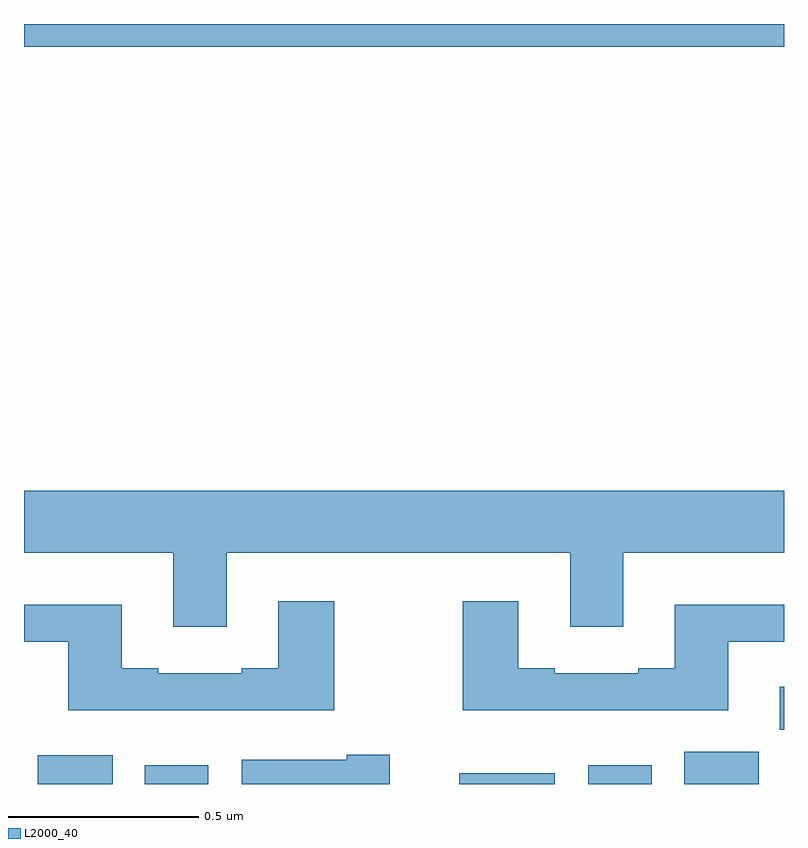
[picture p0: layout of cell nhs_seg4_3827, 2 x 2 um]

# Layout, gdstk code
import gdstk
lib = gdstk.Library(unit=1e-6, precision=1e-09)
def R(c, l, rs):  # rectangles x0, y0, x1, y1
    for r in rs: c.add(gdstk.rectangle(r[:2], r[2:], *l))
def P(c, l, *ps):  # polygons
    for p in ps: c.add(gdstk.Polygon(p, *l))
L2000_40 = (2000, 40)

nhs_seg4_3827 = lib.new_cell('nhs_seg4_3827')
R(nhs_seg4_3827, L2000_40, [(158.036,774.9,158.233,774.976), (158.318,774.9,158.485,774.949), (159.146,774.9,159.397,774.928), (159.485,774.9,159.652,774.949), (159.737,774.9,159.933,774.985), (159.989,775.043,160,775.156), (158,776.84,160,776.9)])
P(nhs_seg4_3827, L2000_40, [(158.533,775.508),(159.437,775.508),(159.437,775.314),(159.577,775.314),(159.577,775.508),(160,775.508),(160,775.672),(158,775.672),(158,775.508),(158.393,775.508),(158.393,775.314),(158.533,775.314)],
  [(158.817,775.381),(158.669,775.381),(158.669,775.204),(158.573,775.204),(158.573,775.191),(158.353,775.191),(158.353,775.204),(158.257,775.204),(158.257,775.372),(158,775.372),(158,775.275),(158.117,775.275),(158.117,775.094),(158.817,775.094)],
  [(159.853,775.275),(160,775.275),(160,775.372),(159.713,775.372),(159.713,775.204),(159.617,775.204),(159.617,775.191),(159.397,775.191),(159.397,775.204),(159.301,775.204),(159.301,775.381),(159.154,775.381),(159.154,775.094),(159.853,775.094)],
  [(158.962,774.977),(158.849,774.977),(158.849,774.964),(158.573,774.964),(158.573,774.9),(158.962,774.9)])

lib.write_gds('nhs_seg4_3827.gds')
